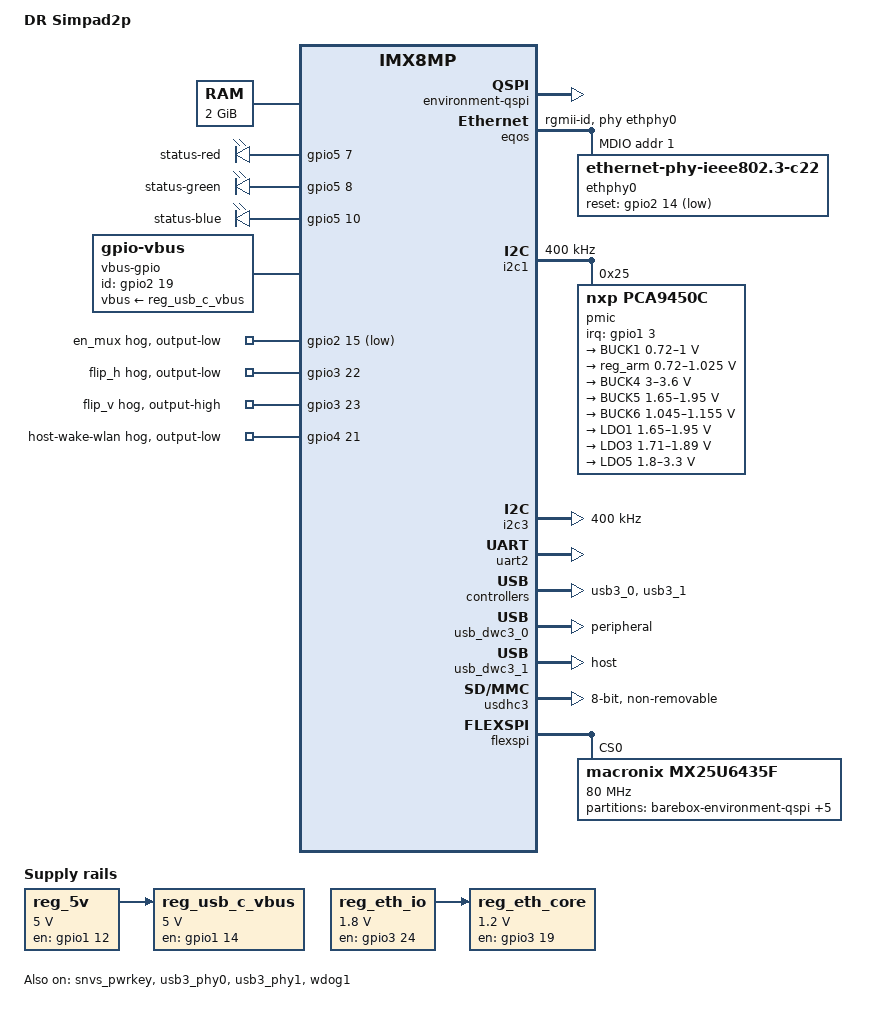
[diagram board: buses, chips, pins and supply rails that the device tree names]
// SPDX-License-Identifier: (GPL-2.0+ OR MIT)
/*
 * Copyright 2019 NXP
 */

/dts-v1/;
#include <dt-bindings/input/input.h>
#include <dt-bindings/gpio/gpio.h>
#include <dt-bindings/usb/pd.h>
#include "imx8mp-nominal.dtsi"
#include "imx8mp.dtsi"

/ {
	model = "DR Simpad2p";
	compatible = "datarespons,simpad2p", "fsl,imx8mp";
	aliases {
		mmc0 = &usdhc3;
		state = &state_simpad;
		ethernet0 = &eqos;
	};

	chosen {
		stdout-path = &uart2;

		environment-qspi {
			compatible = "barebox,environment";
			device-path = &mx25u6435f, "partname:barebox-environment-qspi";
			status = "okay";
		};
	};

	memory@40000000 {
		device_type = "memory";
		reg = <0x0 0x40000000 0 0x80000000>;
	};

	state_simpad: state {
		magic = <0x883b86a6>;
		compatible = "barebox,state";
		backend-type = "raw";
		backend = <&backend_state_qspi>;
		backend-stridesize = <64>;
		status = "okay";
		backend-storage-type = "circular";

		#address-cells = <1>;
		#size-cells = <1>;
		bootstate {
			#address-cells = <1>;
			#size-cells = <1>;
			last_chosen {
				reg = <0x0 0x4>;
				type = "uint32";
			};
			system0 {
				#address-cells = <1>;
				#size-cells = <1>;
				remaining_attempts {
					reg = <0x4 0x4>;
					type = "uint32";
					default = <3>;
				};
				priority {
					reg = <0x8 0x4>;
					type = "uint32";
					default = <21>;
				};
				ok {
					reg = <0xc 0x4>;
					type = "uint32";
					default = <0>;
				};
			};
			system1 {
				#address-cells = <1>;
				#size-cells = <1>;
				remaining_attempts {
					reg = <0x10 0x4>;
					type = "uint32";
					default = <3>;
				};
				priority {
					reg = <0x14 0x4>;
					type = "uint32";
					default = <20>;
				};
				ok {
					reg = <0x18 0x4>;
					type = "uint32";
					default = <0>;
				};
			};
		};
	};

	leds {
		compatible = "gpio-leds";
		pinctrl-names = "default";
		pinctrl-0 = <&pinctrl_gpio_led>;

		status-red {
			gpios = <&gpio5 7 GPIO_ACTIVE_HIGH>;
			default-state = "off";
		};

		status-green {
			gpios = <&gpio5 8 GPIO_ACTIVE_HIGH>;
			default-state = "on";
			linux,default-trigger = "heartbeat";
		};

		status-blue {
			gpios = <&gpio5 10 GPIO_ACTIVE_HIGH>;
			default-state = "off";
		};
	};

	reg_5v: ext_5v {
		compatible = "regulator-fixed";
		regulator-name = "reg-5V";
		regulator-min-microvolt = <5000000>;
		regulator-max-microvolt = <5000000>;
		gpio = <&gpio1 12 0>; /* EN_VCC5-boost */
		enable-active-high;
		regulator-always-on;
	};

	reg_eth_io: eth-io {
		pinctrl-names = "default";
		pinctrl-0 = <&pinctrl_reg_eth_io>;
		compatible = "regulator-fixed";
		regulator-name = "reg-eth-io";
		regulator-min-microvolt = <1800000>;
		regulator-max-microvolt = <1800000>;
		gpio = <&gpio3 24 GPIO_ACTIVE_HIGH>; /* EN_PWR-ENET_A */
		enable-active-high;
	};

	reg_eth_core: eth-core {
		pinctrl-names = "default";
		pinctrl-0 = <&pinctrl_reg_eth_core>;
		compatible = "regulator-fixed";
		regulator-name = "reg-eth-core";
		regulator-min-microvolt = <1200000>;
		regulator-max-microvolt = <1200000>;
		gpio = <&gpio3 19 GPIO_ACTIVE_HIGH>; /* EN_1V2-ENET_A */
		enable-active-high;
		regulator-always-on;
		vin-supply = <&reg_eth_io>;
	};


	reg_usb_c_vbus: usb_c_vbus {
		compatible = "regulator-fixed";
		regulator-name = "reg_usb_c_vbus";
		regulator-min-microvolt = <5000000>;
		regulator-max-microvolt = <5000000>;
		gpio = <&gpio1 14 GPIO_ACTIVE_HIGH>;
		enable-active-high;
		vin-supply = <&reg_5v>;
	};

	simpad-plus-psy {
		pinctrl-names = "default";
		pinctrl-0 = <&pinctrl_psy>;
		status = "disabled";
		compatible = "datarespons,simpad-plus-psy";
		startup-gpios = <&gpio5 16 GPIO_ACTIVE_HIGH &gpio5 17 GPIO_ACTIVE_HIGH>;
		bat-ce-gpios = <&gpio4 14 GPIO_ACTIVE_HIGH &gpio3 23 GPIO_ACTIVE_LOW>;
		dcin-gpio = <&gpio4 5 GPIO_ACTIVE_HIGH>;
	};

	vbus-gpio {
		compatible = "gpio-vbus";
		vbus-supply = <&reg_usb_c_vbus>;
		id-gpio = <&gpio2 19 0>;
	};
};

&gpc {
	compatible = "fsl,imx8mpl-gpc";
};

&A53_0 {
	cpu-supply = <&reg_arm>;
};

&A53_1 {
	cpu-supply = <&reg_arm>;
};

&A53_2 {
	cpu-supply = <&reg_arm>;
};

&A53_3 {
	cpu-supply = <&reg_arm>;
};

&flexcan1 {
	status = "disabled";
};

&flexcan2 {
	status = "disabled";
};

&eqos {
	pinctrl-names = "default";
	pinctrl-0 = <&pinctrl_eqos>;
	phy-mode = "rgmii-id";
	phy-handle = <&ethphy0>;
	snps,force_thresh_dma_mode;
	snps,mtl-tx-config = <&mtl_tx_setup>;
	snps,mtl-rx-config = <&mtl_rx_setup>;
	status = "okay";
	vin-supply = <&reg_eth_io>, <&reg_eth_core>;
	status = "okay";

	mdio {
		compatible = "snps,dwmac-mdio";
		#address-cells = <1>;
		#size-cells = <0>;

		ethphy0: ethernet-phy@0 {
			compatible = "ethernet-phy-ieee802.3-c22";
			reg = <1>;
			eee-broken-1000t;
			reset-gpios = <&gpio2 14 GPIO_ACTIVE_LOW>;
			reset-assert-us = <10000>;
			reset-deassert-us = <80000>;
		};
	};

	mtl_tx_setup: tx-queues-config {
		snps,tx-queues-to-use = <5>;
		snps,tx-sched-sp;

		queue0 {
			snps,dcb-algorithm;
			snps,priority = <0x1>;
		};

		queue1 {
			snps,dcb-algorithm;
			snps,priority = <0x2>;
		};

		queue2 {
			snps,dcb-algorithm;
			snps,priority = <0x4>;
		};

		queue3 {
			snps,dcb-algorithm;
			snps,priority = <0x8>;
		};

		queue4 {
			snps,dcb-algorithm;
			snps,priority = <0xf0>;
		};
	};

	mtl_rx_setup: rx-queues-config {
		snps,rx-queues-to-use = <5>;
		snps,rx-sched-sp;

		queue0 {
			snps,dcb-algorithm;
			snps,priority = <0x1>;
			snps,map-to-dma-channel = <0>;
		};

		queue1 {
			snps,dcb-algorithm;
			snps,priority = <0x2>;
			snps,map-to-dma-channel = <1>;
		};

		queue2 {
			snps,dcb-algorithm;
			snps,priority = <0x4>;
			snps,map-to-dma-channel = <2>;
		};

		queue3 {
			snps,dcb-algorithm;
			snps,priority = <0x8>;
			snps,map-to-dma-channel = <3>;
		};

		queue4 {
			snps,dcb-algorithm;
			snps,priority = <0xf0>;
			snps,map-to-dma-channel = <4>;
		};
	};
};

&fec {
	status = "disabled";
};

&i2c1 {
	clock-frequency = <400000>;
	pinctrl-names = "default";
	pinctrl-0 = <&pinctrl_i2c1>;
	status = "okay";

	pmic@25 {
		compatible = "nxp,pca9450c";
		reg = <0x25>;
		pinctrl-names = "default";
		pinctrl-0 = <&pinctrl_pmic>;
		interrupt-parent = <&gpio1>;
		interrupts = <3 IRQ_TYPE_LEVEL_LOW>;

		regulators {
			BUCK1 {
				regulator-name = "BUCK1";
				regulator-min-microvolt = <720000>;
				regulator-max-microvolt = <1000000>;
				regulator-boot-on;
				regulator-always-on;
				regulator-ramp-delay = <3125>;
			};

			reg_arm: BUCK2 {
				regulator-name = "BUCK2";
				regulator-min-microvolt = <720000>;
				regulator-max-microvolt = <1025000>;
				regulator-boot-on;
				regulator-always-on;
				regulator-ramp-delay = <3125>;
				nxp,dvs-run-voltage = <950000>;
				nxp,dvs-standby-voltage = <850000>;
			};

			BUCK4 {
				regulator-name = "BUCK4";
				regulator-min-microvolt = <3000000>;
				regulator-max-microvolt = <3600000>;
				regulator-boot-on;
				regulator-always-on;
			};

			BUCK5 {
				regulator-name = "BUCK5";
				regulator-min-microvolt = <1650000>;
				regulator-max-microvolt = <1950000>;
				regulator-boot-on;
				regulator-always-on;
			};

			BUCK6 {
				regulator-name = "BUCK6";
				regulator-min-microvolt = <1045000>;
				regulator-max-microvolt = <1155000>;
				regulator-boot-on;
				regulator-always-on;
			};

			LDO1 {
				regulator-name = "LDO1";
				regulator-min-microvolt = <1650000>;
				regulator-max-microvolt = <1950000>;
				regulator-boot-on;
				regulator-always-on;
			};

			LDO3 {
				regulator-name = "LDO3";
				regulator-min-microvolt = <1710000>;
				regulator-max-microvolt = <1890000>;
				regulator-boot-on;
				regulator-always-on;
			};

			LDO5 {
				regulator-name = "LDO5";
				regulator-min-microvolt = <1800000>;
				regulator-max-microvolt = <3300000>;
				regulator-boot-on;
				regulator-always-on;
			};
		};
	};
};

&i2c3 {
	clock-frequency = <400000>;
	pinctrl-names = "default";
	pinctrl-0 = <&pinctrl_i2c3>;
	status = "okay";
};

&snvs_pwrkey {
	status = "okay";
};

&uart2 {
	/* console */
	pinctrl-names = "default";
	pinctrl-0 = <&pinctrl_uart2>;
	status = "okay";
};


/* USB-OTG */
&usb3_phy0 {
	status = "okay";
};

&usb3_0 {
	status = "okay";
};

&usb_dwc3_0 {
	dr_mode = "peripheral";
	status = "okay";
};


&usb3_phy1 {
	status = "okay";
};

&usb3_1 {
	status = "okay";
};

&usb_dwc3_1 {
	dr_mode = "host";
	status = "okay";
};

&usdhc2 {
	status = "disabled";
};

&usdhc3 {
	assigned-clocks = <&clk IMX8MP_CLK_USDHC3>;
	assigned-clock-rates = <400000000>;
	pinctrl-names = "default", "state_100mhz", "state_200mhz";
	pinctrl-0 = <&pinctrl_usdhc3>;
	pinctrl-1 = <&pinctrl_usdhc3_100mhz>;
	pinctrl-2 = <&pinctrl_usdhc3_200mhz>;
	bus-width = <8>;
	non-removable;
	status = "okay";

	partitions {
		compatible = "fixed-partitions";
		#size-cells = <1>;
		#address-cells = <1>;
		partition@0 {
			label = "barebox-environment";
			reg = <0x8000 0xf8000>;
		};

		backend_state_usdhc: partition@100000 {
			reg = <0x100000 0x100000>;
			label = "state-emmc";
		};
	};
};

&wdog1 {
	pinctrl-names = "default";
	pinctrl-0 = <&pinctrl_wdog>;
	fsl,ext-reset-output;
	status = "okay";
};

&flexspi {
	pinctrl-names = "default";
	pinctrl-0 = <&pinctrl_flexspi0>;
	status = "okay";

	mx25u6435f: flash@0 {
		reg = <0>;
		#address-cells = <1>;
		#size-cells = <1>;
		compatible = "macronix,mx25u6435f", "jedec,spi-nor";
		spi-max-frequency = <80000000>;
		spi-tx-bus-width = <1>;
		spi-rx-bus-width = <4>;
		spi-nor,ddr-quad-read-dummy = <6>;

	};
};

&mx25u6435f {
	partitions {
		compatible = "fixed-partitions";
		#address-cells = <1>;
		#size-cells = <1>;

		partition@0 {
			label = "barebox-environment-qspi";
			reg = <0x0 0x40000>;
		};

		backend_state_qspi: state@40000 {
			label = "barebox-state";
			reg = <0x40000 0xc0000>;
		};

		partition@100000 {
			label = "system_a";
			reg = <0x100000 0x40000>;
		};
		partition@140000 {
			label = "system_b";
			reg = <0x140000 0x40000>;
		};

		partition@180000 {
			label = "user_a";
			reg = <0x180000 0x40000>;
		};
		partition@1c0000 {
			label = "user_b";
			reg = <0x1c0000 0x40000>;
		};
	};
};

&gpio1 {
	gpio-line-names = "", "", "", "", "en-slow-clk-wlan", "", "", "ts-rst",
						"", "", "", "", "", "", "", "";
};

&gpio2 {
	gpio-line-names =   "", "", "", "", "", "", "", "",
						"", "", "", "", "", "", "phy-reset", "",
						"", "", "", "usb_id", "", "", "", "";
	en_mux {
		gpio-hog;
		gpios = <15 GPIO_ACTIVE_LOW>;
		output-low;
	};
};

&gpio3 {
	gpio-line-names = "", "", "", "", "", "", "", "",
						"spinor-wp", "", "", "", "", "", "", "";
	flip_h {
		gpio-hog;
		gpios = <22 GPIO_ACTIVE_HIGH>;
		output-low;
	};

	flip_v {
		gpio-hog;
		gpios = <23 GPIO_ACTIVE_HIGH>;
		output-high;
	};
};

&gpio4 {
	gpio-line-names = "", "", "", "", "", "charger-ce-n", "", "",
						"", "", "", "", "", "", "", "",
						"", "hwrev0", "hwrev1", "hwrev2", "", "host-wake-wlan", "wlan-wake-host", "",
						"", "", "", "", "", "", "", "";

	host-wake-wlan {
		gpio-hog;
		gpios = <21 GPIO_ACTIVE_HIGH>;
		output-low;
	};
};

&gpio5 {
	gpio-line-names = "", "", "", "bt-wake-host", "host-wake-bt", "", "", "",
						"", "", "", "", "", "", "", "",
						"", "", "", "", "", "", "", "";
};

&iomuxc {

	pinctrl_hog: hoggrp {
		fsl,pins = <
			MX8MP_IOMUXC_GPIO1_IO04__GPIO1_IO04			0x142		/* EN_32KO-RTC (WLAN SLP_CLK-WLAN)*/
			MX8MP_IOMUXC_GPIO1_IO06__GPIO1_IO06			0x1c0		/* GP--CTP_nINT (touch interrupt  nINT-CTP, */
			MX8MP_IOMUXC_GPIO1_IO07__GPIO1_IO07			0x142		/* Touch reset (low)  nRESET-CTP*/
			MX8MP_IOMUXC_GPIO1_IO08__GPIO1_IO08			0x1c0		/* Function key (active low, pullup)  key_nFunction*/
			MX8MP_IOMUXC_GPIO1_IO09__GPIO1_IO09			0x1c0		/* RTC nIRQ */
			MX8MP_IOMUXC_GPIO1_IO13__GPIO1_IO13			0x002		/* GP--WL_BAT_PWR_EN PMIC_EN-WLAN */
			MX8MP_IOMUXC_GPIO1_IO12__GPIO1_IO12			0x006		/* VCC 5V Boost */
			MX8MP_IOMUXC_GPIO1_IO15__GPIO1_IO15			0x142		/* nEN_SPKPWR */

			MX8MP_IOMUXC_SAI1_RXD2__GPIO4_IO04			0x002		/* CLR_STATUS , CLR_STATUS-CPUGPO*/
			MX8MP_IOMUXC_SAI1_RXD3__GPIO4_IO05			0x102		/* GP--Charger_nCE */
			MX8MP_IOMUXC_SAI1_RXD4__GPIO4_IO06			0x080		/* START_KEY IO1-4-CPLD, START_KEY-CPUGPI*/
			MX8MP_IOMUXC_SAI1_RXD5__GPIO4_IO07			0x080		/* START_ADAPTER IO1-1-CPLD, START_ADAPTER-CPUGPI*/
			MX8MP_IOMUXC_SAI1_RXD6__GPIO4_IO08			0x080		/* DCIN_VALID from CPLD */
			MX8MP_IOMUXC_SAI1_RXD7__GPIO4_IO09			0x180		/* PPWR_BTN_SNS PWR_BTN_SNS-CPUGPI*/
			MX8MP_IOMUXC_SAI1_TXD5__GPIO4_IO17			0x00		/* HW_Setting_0 */
			MX8MP_IOMUXC_SAI1_TXD6__GPIO4_IO18			0x00		/* HW_Setting_1 */
			MX8MP_IOMUXC_SAI1_TXD7__GPIO4_IO19			0x00		/* HW_Setting_2 */

			MX8MP_IOMUXC_SAI2_MCLK__GPIO4_IO27			0x1c0		/* GP--HP_DET, pullup  HP_DET*/
			MX8MP_IOMUXC_SAI5_RXD0__GPIO3_IO21			0x102		/* EN_PWR-LCD */
			MX8MP_IOMUXC_SAI5_RXD1__GPIO3_IO22			0x102		/* LCD flip H,GP--LCD_L/R  LR-LCD*/
			MX8MP_IOMUXC_SAI5_RXD2__GPIO3_IO23			0x142		/* LCD flip V, GP--LCD_U/D	UD-LCD*/


			MX8MP_IOMUXC_SPDIF_EXT_CLK__GPIO5_IO05		0x1c0		/* Mic detect MIC_DET, SPDIF_EXT_CLK???*/
			MX8MP_IOMUXC_NAND_DATA02__GPIO3_IO08		0x002		/* GP--nWP--flash (SPI flash WP) QSPIA_D2-nWP-Flash*/
			MX8MP_IOMUXC_SD2_DATA0__GPIO2_IO15			0x002		/* EN-USB3C_MUX */
			MX8MP_IOMUXC_SD2_DATA1__GPIO2_IO16			0x140		/* SS_SEL-USB3C_MUX */
			MX8MP_IOMUXC_SD2_DATA2__GPIO2_IO17			0x140		/* DIR-TypeC_CC */
			MX8MP_IOMUXC_SD2_RESET_B__GPIO2_IO19		0x1c0 		/* OTG_ID */
			MX8MP_IOMUXC_GPIO1_IO14__GPIO1_IO14			0x006		/* VBUS ENABLE */
			MX8MP_IOMUXC_SD2_CMD__GPIO2_IO14			0x004		/* ETHPHY_nRST */
		>;
	};

	pinctrl_eqos: eqosgrp {
		fsl,pins = <
			MX8MP_IOMUXC_ENET_MDC__ENET_QOS_MDC					0x3
			MX8MP_IOMUXC_ENET_MDIO__ENET_QOS_MDIO				0x3
			MX8MP_IOMUXC_ENET_RD0__ENET_QOS_RGMII_RD0			0x91
			MX8MP_IOMUXC_ENET_RD1__ENET_QOS_RGMII_RD1			0x91
			MX8MP_IOMUXC_ENET_RD2__ENET_QOS_RGMII_RD2			0x91
			MX8MP_IOMUXC_ENET_RD3__ENET_QOS_RGMII_RD3			0x91
			MX8MP_IOMUXC_ENET_RXC__CCM_ENET_QOS_CLOCK_GENERATE_RX_CLK	0x91
			MX8MP_IOMUXC_ENET_RX_CTL__ENET_QOS_RGMII_RX_CTL		0x91
			MX8MP_IOMUXC_ENET_TD0__ENET_QOS_RGMII_TD0			0x1f
			MX8MP_IOMUXC_ENET_TD1__ENET_QOS_RGMII_TD1			0x1f
			MX8MP_IOMUXC_ENET_TD2__ENET_QOS_RGMII_TD2			0x1f
			MX8MP_IOMUXC_ENET_TD3__ENET_QOS_RGMII_TD3			0x1f
			MX8MP_IOMUXC_ENET_TX_CTL__ENET_QOS_RGMII_TX_CTL		0x1f
			MX8MP_IOMUXC_ENET_TXC__CCM_ENET_QOS_CLOCK_GENERATE_TX_CLK	0x1f
			MX8MP_IOMUXC_SAI2_RXC__GPIO4_IO22					0x19
		>;
	};

	pinctrl_reg_eth_io: ethiogrp {
		fsl,pins = <
			MX8MP_IOMUXC_SAI5_RXD3__GPIO3_IO24	0x106	/* EN_PWR-ENET_A */
		>;
	};

	pinctrl_reg_eth_core: ethcoregrp {
		fsl,pins = <
			MX8MP_IOMUXC_SAI5_RXFS__GPIO3_IO19	0x106	/* EN_1V2-ENET_A */
		>;
	};


	pinctrl_gpio_led: gpioledgrp {
		fsl,pins = <
			MX8MP_IOMUXC_NAND_READY_B__GPIO3_IO16	0x002
		>;
	};

	pinctrl_i2c1: i2c1grp {
		fsl,pins = <
			MX8MP_IOMUXC_I2C1_SCL__I2C1_SCL		0x400001c2
			MX8MP_IOMUXC_I2C1_SDA__I2C1_SDA		0x400001c2
		>;
	};

	pinctrl_i2c2: i2c2grp {
		fsl,pins = <
			MX8MP_IOMUXC_I2C2_SCL__I2C2_SCL		0x400001c2
			MX8MP_IOMUXC_I2C2_SDA__I2C2_SDA		0x400001c2
		>;
	};

	pinctrl_i2c3: i2c3grp {
		fsl,pins = <
			MX8MP_IOMUXC_I2C3_SCL__I2C3_SCL		0x400001c2
			MX8MP_IOMUXC_I2C3_SDA__I2C3_SDA		0x400001c2
		>;
	};

	pinctrl_pmic: pmicgrp {
		fsl,pins = <
			MX8MP_IOMUXC_GPIO1_IO03__GPIO1_IO03	0x000001c0
		>;
	};

	pinctrl_uart2: uart2grp {
		fsl,pins = <
			MX8MP_IOMUXC_UART2_RXD__UART2_DCE_RX	0x48
			MX8MP_IOMUXC_UART2_TXD__UART2_DCE_TX	0x48
		>;
	};

	pinctrl_usdhc3: usdhc3grp {
		fsl,pins = <
			MX8MP_IOMUXC_NAND_WE_B__USDHC3_CLK	0x190
			MX8MP_IOMUXC_NAND_WP_B__USDHC3_CMD	0x1d0
			MX8MP_IOMUXC_NAND_DATA04__USDHC3_DATA0	0x1d0
			MX8MP_IOMUXC_NAND_DATA05__USDHC3_DATA1	0x1d0
			MX8MP_IOMUXC_NAND_DATA06__USDHC3_DATA2	0x1d0
			MX8MP_IOMUXC_NAND_DATA07__USDHC3_DATA3	0x1d0
			MX8MP_IOMUXC_NAND_RE_B__USDHC3_DATA4	0x1d0
			MX8MP_IOMUXC_NAND_CE2_B__USDHC3_DATA5	0x1d0
			MX8MP_IOMUXC_NAND_CE3_B__USDHC3_DATA6	0x1d0
			MX8MP_IOMUXC_NAND_CLE__USDHC3_DATA7	0x1d0
			MX8MP_IOMUXC_NAND_CE1_B__USDHC3_STROBE	0x190
		>;
	};

	pinctrl_usdhc3_100mhz: usdhc3-100mhzgrp {
		fsl,pins = <
			MX8MP_IOMUXC_NAND_WE_B__USDHC3_CLK	0x194
			MX8MP_IOMUXC_NAND_WP_B__USDHC3_CMD	0x1d4
			MX8MP_IOMUXC_NAND_DATA04__USDHC3_DATA0	0x1d4
			MX8MP_IOMUXC_NAND_DATA05__USDHC3_DATA1	0x1d4
			MX8MP_IOMUXC_NAND_DATA06__USDHC3_DATA2	0x1d4
			MX8MP_IOMUXC_NAND_DATA07__USDHC3_DATA3	0x1d4
			MX8MP_IOMUXC_NAND_RE_B__USDHC3_DATA4	0x1d4
			MX8MP_IOMUXC_NAND_CE2_B__USDHC3_DATA5	0x1d4
			MX8MP_IOMUXC_NAND_CE3_B__USDHC3_DATA6	0x1d4
			MX8MP_IOMUXC_NAND_CLE__USDHC3_DATA7	0x1d4
			MX8MP_IOMUXC_NAND_CE1_B__USDHC3_STROBE	0x194
		>;
	};

	pinctrl_usdhc3_200mhz: usdhc3-200mhzgrp {
		fsl,pins = <
			MX8MP_IOMUXC_NAND_WE_B__USDHC3_CLK	0x196
			MX8MP_IOMUXC_NAND_WP_B__USDHC3_CMD	0x1d6
			MX8MP_IOMUXC_NAND_DATA04__USDHC3_DATA0	0x1d6
			MX8MP_IOMUXC_NAND_DATA05__USDHC3_DATA1	0x1d6
			MX8MP_IOMUXC_NAND_DATA06__USDHC3_DATA2	0x1d6
			MX8MP_IOMUXC_NAND_DATA07__USDHC3_DATA3	0x1d6
			MX8MP_IOMUXC_NAND_RE_B__USDHC3_DATA4	0x1d6
			MX8MP_IOMUXC_NAND_CE2_B__USDHC3_DATA5	0x1d6
			MX8MP_IOMUXC_NAND_CE3_B__USDHC3_DATA6	0x1d6
			MX8MP_IOMUXC_NAND_CLE__USDHC3_DATA7	0x1d6
			MX8MP_IOMUXC_NAND_CE1_B__USDHC3_STROBE	0x196
		>;
	};

	pinctrl_wdog: wdoggrp {
		fsl,pins = <
			MX8MP_IOMUXC_GPIO1_IO02__WDOG1_WDOG_B	0x166
		>;
	};

	pinctrl_flexspi0: flexspi0grp {
		fsl,pins = <
			MX8MP_IOMUXC_NAND_ALE__FLEXSPI_A_SCLK           0x1c2
			MX8MP_IOMUXC_NAND_CE0_B__FLEXSPI_A_SS0_B        0x82
			MX8MP_IOMUXC_NAND_DATA00__FLEXSPI_A_DATA00      0x82
			MX8MP_IOMUXC_NAND_DATA01__FLEXSPI_A_DATA01      0x82
			MX8MP_IOMUXC_NAND_DATA02__FLEXSPI_A_DATA02      0x1C2
			MX8MP_IOMUXC_NAND_DATA03__FLEXSPI_A_DATA03      0x82
		>;
	};

	pinctrl_gpio_led: gpioledgrp {
		fsl,pins = <
			MX8MP_IOMUXC_ECSPI1_MOSI__GPIO5_IO07	0x002
			MX8MP_IOMUXC_ECSPI1_MISO__GPIO5_IO08	0x002
			MX8MP_IOMUXC_ECSPI1_SCLK__GPIO5_IO06	0x002
		>;
	};

	pinctrl_psy: psygrp {
		fsl,pins = <

		>;
	};
};
